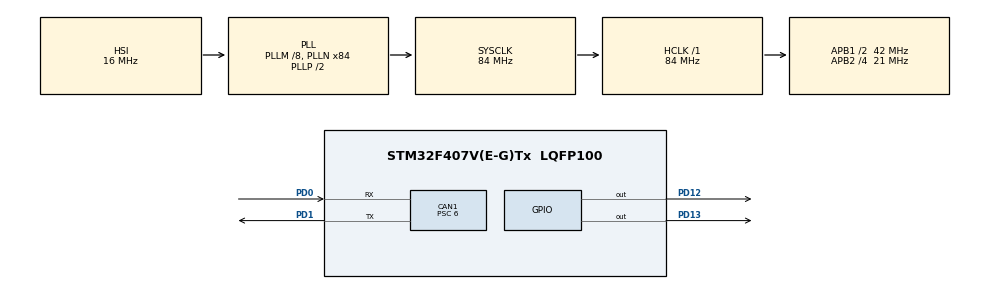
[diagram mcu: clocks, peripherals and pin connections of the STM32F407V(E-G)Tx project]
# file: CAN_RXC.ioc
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CAN1.BS1=CAN_BS1_11TQ
CAN1.BS2=CAN_BS2_2TQ
CAN1.CalculateBaudRate=500000
CAN1.CalculateTimeBit=2000
CAN1.CalculateTimeQuantum=142.85714285714286
CAN1.Prescaler=6
Mcu.Family=STM32F4
Mcu.Name=STM32F407V(E-G)Tx
Mcu.Package=LQFP100
NVIC.PriorityGroup=NVIC_PRIORITYGROUP_4
PA13.Mode=Trace_Asynchronous_SW
PA13.Signal=SYS_JTMS-SWDIO
PA14.Mode=Trace_Asynchronous_SW
PA14.Signal=SYS_JTCK-SWCLK
PB3.Mode=Trace_Asynchronous_SW
PB3.Signal=SYS_JTDO-SWO
PD0.Mode=CAN_Activate
PD0.Signal=CAN1_RX
PD1.Mode=CAN_Activate
PD1.Signal=CAN1_TX
PD12.Signal=GPIO_Output
PD13.Signal=GPIO_Output
ProjectManager.HeapSize=0x200
ProjectManager.StackSize=0x400
ProjectManager.TargetToolchain=STM32CubeIDE
RCC.48MHZClocksFreq_Value=42000000
RCC.AHBFreq_Value=84000000
RCC.APB1CLKDivider=RCC_HCLK_DIV2
RCC.APB1Freq_Value=42000000
RCC.APB1TimFreq_Value=84000000
RCC.APB2CLKDivider=RCC_HCLK_DIV4
RCC.APB2Freq_Value=21000000
RCC.APB2TimFreq_Value=42000000
RCC.CortexFreq_Value=84000000
RCC.HCLKFreq_Value=84000000
RCC.HSE_VALUE=25000000
RCC.HSI_VALUE=16000000
RCC.LSE_VALUE=32768
RCC.PLLM=8
RCC.PLLN=84
RCC.SYSCLKFreq_VALUE=84000000
RCC.SYSCLKSource=RCC_SYSCLKSOURCE_PLLCLK
RCC.VCOOutputFreq_Value=168000000
board=custom

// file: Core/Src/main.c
/* USER CODE BEGIN Header */
/**
  ******************************************************************************
  * @file           : main.c
  * @brief          : Main program body
  ******************************************************************************
  * @attention
  *
  * Copyright (c) 2026 STMicroelectronics.
  * All rights reserved.
  *
  * This software is licensed under terms that can be found in the LICENSE file
  * in the root directory of this software component.
  * If no LICENSE file comes with this software, it is provided AS-IS.
  *
  ******************************************************************************
  */
/* USER CODE END Header */
#include "main.h"

/* USER CODE BEGIN Includes */
#include <stdio.h>
/* USER CODE END Includes */

CAN_HandleTypeDef hcan1;

void SystemClock_Config(void);
static void MX_GPIO_Init(void);
static void MX_CAN1_Init(void);
/* USER CODE BEGIN PFP */
int __io_putchar(int ch);
/* USER CODE END PFP */

/* USER CODE BEGIN 0 */
CAN_RxHeaderTypeDef RxHeader;
uint16_t adcvalue;
uint16_t temp;
uint8_t button;
uint32_t mailbox;
CAN_FilterTypeDef filter;
uint8_t arr[8];

/* USER CODE END 0 */

int main(void)
{

  /* MCU Configuration--------------------------------------------------------*/

  /* Reset of all peripherals, Initializes the Flash interface and the Systick. */
  HAL_Init();

  /* Configure the system clock */
  SystemClock_Config();

  /* Initialize all configured peripherals */
  MX_GPIO_Init();
  MX_CAN1_Init();
  /* USER CODE BEGIN 2 */

  filter.FilterActivation = ENABLE;
  filter.FilterBank = 0;
  filter.FilterFIFOAssignment = CAN_FILTER_FIFO0;
  filter.FilterMode = CAN_FILTERMODE_IDMASK;
  filter.FilterScale = CAN_FILTERSCALE_32BIT;
  filter.FilterIdHigh = 0;
  filter.FilterIdLow = 0;
  filter.FilterMaskIdHigh = 0;
  filter.FilterMaskIdLow = 0;

  HAL_CAN_ConfigFilter(&hcan1,&filter);

  HAL_CAN_Start(&hcan1);
  /* USER CODE END 2 */

  /* Infinite loop */
  while (1)
  {

    /* USER CODE BEGIN 3 */

	if(HAL_CAN_GetRxFifoFillLevel(&hcan1,CAN_RX_FIFO0)>0){
		HAL_CAN_GetRxMessage(&hcan1, CAN_RX_FIFO0, &RxHeader, arr);
        HAL_GPIO_TogglePin(GPIOD, GPIO_PIN_12);
		switch(RxHeader.StdId){

		case 100:
			adcvalue = arr[0]|(arr[1]<<8);
			printf("adcvalue: %u\n", adcvalue);
			break;

		case 101:
			button = arr[0];
			if(button & 0x01){
				HAL_GPIO_WritePin(GPIOD, GPIO_PIN_13, GPIO_PIN_SET);
			}
			else{
				HAL_GPIO_WritePin(GPIOD, GPIO_PIN_13, GPIO_PIN_RESET);

			}
			break;
		case 102:
			temp = arr[0]|(arr[1]<<8);
			printf("temp: %u\n", temp);
			break;

}
	}
  }
  /* USER CODE END 3 */
}

void SystemClock_Config(void)
{
  RCC_OscInitTypeDef RCC_OscInitStruct = {0};
  RCC_ClkInitTypeDef RCC_ClkInitStruct = {0};

  /** Configure the main internal regulator output voltage
  */
  __HAL_RCC_PWR_CLK_ENABLE();
  __HAL_PWR_VOLTAGESCALING_CONFIG(PWR_REGULATOR_VOLTAGE_SCALE1);

  /** Initializes the RCC Oscillators according to the specified parameters
  * in the RCC_OscInitTypeDef structure.
  */
  RCC_OscInitStruct.OscillatorType = RCC_OSCILLATORTYPE_HSI;
  RCC_OscInitStruct.HSIState = RCC_HSI_ON;
  RCC_OscInitStruct.HSICalibrationValue = RCC_HSICALIBRATION_DEFAULT;
  RCC_OscInitStruct.PLL.PLLState = RCC_PLL_ON;
  RCC_OscInitStruct.PLL.PLLSource = RCC_PLLSOURCE_HSI;
  RCC_OscInitStruct.PLL.PLLM = 8;
  RCC_OscInitStruct.PLL.PLLN = 84;
  RCC_OscInitStruct.PLL.PLLP = RCC_PLLP_DIV2;
  RCC_OscInitStruct.PLL.PLLQ = 4;
  if (HAL_RCC_OscConfig(&RCC_OscInitStruct) != HAL_OK)
  {
    Error_Handler();
  }

  /** Initializes the CPU, AHB and APB buses clocks
  */
  RCC_ClkInitStruct.ClockType = RCC_CLOCKTYPE_HCLK|RCC_CLOCKTYPE_SYSCLK
                              |RCC_CLOCKTYPE_PCLK1|RCC_CLOCKTYPE_PCLK2;
  RCC_ClkInitStruct.SYSCLKSource = RCC_SYSCLKSOURCE_PLLCLK;
  RCC_ClkInitStruct.AHBCLKDivider = RCC_SYSCLK_DIV1;
  RCC_ClkInitStruct.APB1CLKDivider = RCC_HCLK_DIV2;
  RCC_ClkInitStruct.APB2CLKDivider = RCC_HCLK_DIV4;

  if (HAL_RCC_ClockConfig(&RCC_ClkInitStruct, FLASH_LATENCY_2) != HAL_OK)
  {
    Error_Handler();
  }
}

static void MX_CAN1_Init(void)
{

  hcan1.Instance = CAN1;
  hcan1.Init.Prescaler = 6;
  hcan1.Init.Mode = CAN_MODE_NORMAL;
  hcan1.Init.SyncJumpWidth = CAN_SJW_1TQ;
  hcan1.Init.TimeSeg1 = CAN_BS1_11TQ;
  hcan1.Init.TimeSeg2 = CAN_BS2_2TQ;
  hcan1.Init.TimeTriggeredMode = DISABLE;
  hcan1.Init.AutoBusOff = DISABLE;
  hcan1.Init.AutoWakeUp = DISABLE;
  hcan1.Init.AutoRetransmission = DISABLE;
  hcan1.Init.ReceiveFifoLocked = DISABLE;
  hcan1.Init.TransmitFifoPriority = DISABLE;
  if (HAL_CAN_Init(&hcan1) != HAL_OK)
  {
    Error_Handler();
  }

}

static void MX_GPIO_Init(void)
{
  GPIO_InitTypeDef GPIO_InitStruct = {0};

  /* GPIO Ports Clock Enable */
  __HAL_RCC_GPIOD_CLK_ENABLE();
  __HAL_RCC_GPIOA_CLK_ENABLE();
  __HAL_RCC_GPIOB_CLK_ENABLE();

  /*Configure GPIO pin Output Level */
  HAL_GPIO_WritePin(GPIOD, GPIO_PIN_12|GPIO_PIN_13, GPIO_PIN_RESET);

  /*Configure GPIO pins : PD12 PD13 */
  GPIO_InitStruct.Pin = GPIO_PIN_12|GPIO_PIN_13;
  GPIO_InitStruct.Mode = GPIO_MODE_OUTPUT_PP;
  GPIO_InitStruct.Pull = GPIO_NOPULL;
  GPIO_InitStruct.Speed = GPIO_SPEED_FREQ_LOW;
  HAL_GPIO_Init(GPIOD, &GPIO_InitStruct);

}

/* USER CODE BEGIN 4 */
int __io_putchar(int ch)
{
    ITM_SendChar(ch);
    return ch;
}
/* USER CODE END 4 */

void Error_Handler(void)
{
  __disable_irq();
  while (1)
  {
  }
}
